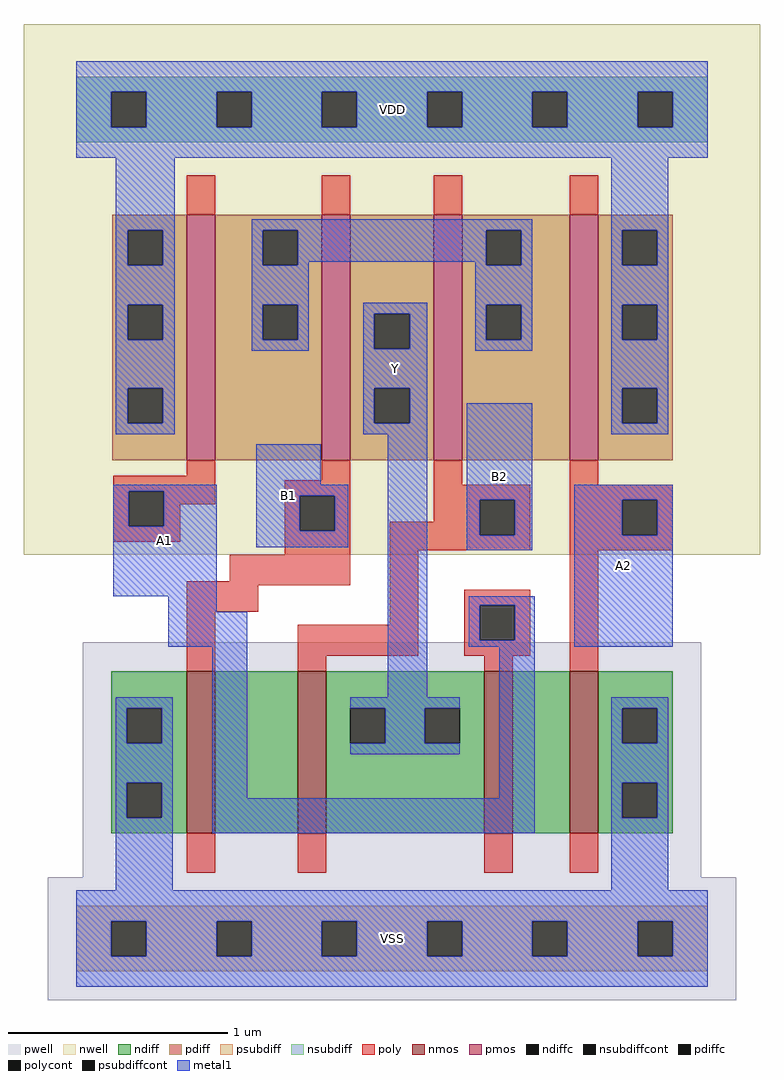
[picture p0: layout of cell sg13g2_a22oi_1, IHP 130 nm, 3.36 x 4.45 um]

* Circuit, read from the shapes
.subckt sg13g2_a22oi_1 Y A2 VDD B1 A1 VSS B2
XM1 n1 B1 VSS VSS sg13_lv_nmos w=0.74u l=0.13u
XM2 Y B2 n1 VSS sg13_lv_nmos w=0.74u l=0.13u
XM3 n2 A1 Y VSS sg13_lv_nmos w=0.74u l=0.13u
XM4 VSS A2 n2 VSS sg13_lv_nmos w=0.74u l=0.13u
XM5 n3 A1 VDD VDD sg13_lv_pmos w=1.12u l=0.13u
XM6 Y B1 n3 VDD sg13_lv_pmos w=1.12u l=0.13u
XM7 n3 B2 Y VDD sg13_lv_pmos w=1.12u l=0.13u
XM8 VDD A2 n3 VDD sg13_lv_pmos w=1.12u l=0.13u
.ends

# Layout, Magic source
magic
tech ihp-sg13g2
magscale 1 2
<< nwell >>
rect -48 350 624 834
<< pwell >>
rect 6 56 570 270
rect -26 -56 602 56
<< nmos >>
rect 101 96 127 244
rect 202 96 228 244
rect 372 96 398 244
rect 450 96 476 244
<< pmos >>
rect 101 436 127 660
rect 224 436 250 660
rect 326 436 352 660
rect 450 436 476 660
<< ndiff >>
rect 32 210 101 244
rect 32 178 46 210
rect 78 178 101 210
rect 32 142 101 178
rect 32 110 46 142
rect 78 110 101 142
rect 32 96 101 110
rect 127 96 202 244
rect 228 210 372 244
rect 228 178 250 210
rect 282 178 318 210
rect 350 178 372 210
rect 228 96 372 178
rect 398 96 450 244
rect 476 210 544 244
rect 476 178 498 210
rect 530 178 544 210
rect 476 142 544 178
rect 476 110 498 142
rect 530 110 544 142
rect 476 96 544 110
<< pdiff >>
rect 33 646 101 660
rect 33 614 47 646
rect 79 614 101 646
rect 33 578 101 614
rect 33 546 47 578
rect 79 546 101 578
rect 33 502 101 546
rect 33 470 47 502
rect 79 470 101 502
rect 33 436 101 470
rect 127 646 224 660
rect 127 614 170 646
rect 202 614 224 646
rect 127 578 224 614
rect 127 546 170 578
rect 202 546 224 578
rect 127 436 224 546
rect 250 570 326 660
rect 250 538 272 570
rect 304 538 326 570
rect 250 502 326 538
rect 250 470 272 502
rect 304 470 326 502
rect 250 436 326 470
rect 352 646 450 660
rect 352 614 374 646
rect 406 614 450 646
rect 352 578 450 614
rect 352 546 374 578
rect 406 546 450 578
rect 352 436 450 546
rect 476 646 544 660
rect 476 614 498 646
rect 530 614 544 646
rect 476 578 544 614
rect 476 546 498 578
rect 530 546 544 578
rect 476 502 544 546
rect 476 470 498 502
rect 530 470 544 502
rect 476 436 544 470
<< ndiffc >>
rect 46 178 78 210
rect 46 110 78 142
rect 250 178 282 210
rect 318 178 350 210
rect 498 178 530 210
rect 498 110 530 142
<< pdiffc >>
rect 47 614 79 646
rect 47 546 79 578
rect 47 470 79 502
rect 170 614 202 646
rect 170 546 202 578
rect 272 538 304 570
rect 272 470 304 502
rect 374 614 406 646
rect 374 546 406 578
rect 498 614 530 646
rect 498 546 530 578
rect 498 470 530 502
<< psubdiff >>
rect 0 16 576 30
rect 0 -16 32 16
rect 64 -16 128 16
rect 160 -16 224 16
rect 256 -16 320 16
rect 352 -16 416 16
rect 448 -16 512 16
rect 544 -16 576 16
rect 0 -30 576 -16
<< nsubdiff >>
rect 0 772 576 786
rect 0 740 32 772
rect 64 740 128 772
rect 160 740 224 772
rect 256 740 320 772
rect 352 740 416 772
rect 448 740 512 772
rect 544 740 576 772
rect 0 726 576 740
<< psubdiffcont >>
rect 32 -16 64 16
rect 128 -16 160 16
rect 224 -16 256 16
rect 320 -16 352 16
rect 416 -16 448 16
rect 512 -16 544 16
<< nsubdiffcont >>
rect 32 740 64 772
rect 128 740 160 772
rect 224 740 256 772
rect 320 740 352 772
rect 416 740 448 772
rect 512 740 544 772
<< poly >>
rect 101 660 127 696
rect 224 660 250 696
rect 326 660 352 696
rect 450 660 476 696
rect 101 422 127 436
rect 34 408 127 422
rect 224 418 250 436
rect 34 376 48 408
rect 80 396 127 408
rect 190 404 250 418
rect 80 376 95 396
rect 34 362 95 376
rect 190 372 204 404
rect 236 372 250 404
rect 326 414 352 436
rect 450 414 476 436
rect 326 400 414 414
rect 326 380 368 400
rect 190 350 250 372
rect 140 326 250 350
rect 101 322 250 326
rect 286 368 368 380
rect 400 368 414 400
rect 286 354 414 368
rect 450 400 544 414
rect 450 368 498 400
rect 530 368 544 400
rect 450 354 544 368
rect 101 298 166 322
rect 101 244 127 298
rect 286 286 312 354
rect 202 258 312 286
rect 354 304 414 318
rect 354 272 368 304
rect 400 272 414 304
rect 354 258 414 272
rect 202 244 228 258
rect 372 244 398 258
rect 450 244 476 354
rect 101 60 127 96
rect 202 60 228 96
rect 372 60 398 96
rect 450 60 476 96
<< polycont >>
rect 48 376 80 408
rect 204 372 236 404
rect 368 368 400 400
rect 498 368 530 400
rect 368 272 400 304
<< metal1 >>
rect 0 772 576 800
rect 0 740 32 772
rect 64 740 128 772
rect 160 740 224 772
rect 256 740 320 772
rect 352 740 416 772
rect 448 740 512 772
rect 544 740 576 772
rect 0 712 576 740
rect 36 646 90 712
rect 36 614 47 646
rect 79 614 90 646
rect 36 578 90 614
rect 36 546 47 578
rect 79 546 90 578
rect 36 502 90 546
rect 160 646 416 656
rect 160 614 170 646
rect 202 617 374 646
rect 202 614 212 617
rect 160 578 212 614
rect 364 614 374 617
rect 406 614 416 646
rect 160 546 170 578
rect 202 546 212 578
rect 160 536 212 546
rect 262 570 320 580
rect 262 538 272 570
rect 304 538 320 570
rect 36 470 47 502
rect 79 470 90 502
rect 36 460 90 470
rect 262 502 320 538
rect 364 578 416 614
rect 364 546 374 578
rect 406 546 416 578
rect 364 536 416 546
rect 488 646 540 712
rect 488 614 498 646
rect 530 614 540 646
rect 488 578 540 614
rect 488 546 498 578
rect 530 546 540 578
rect 262 470 272 502
rect 304 470 320 502
rect 488 502 540 546
rect 262 460 320 470
rect 164 414 223 451
rect 34 408 128 414
rect 34 376 48 408
rect 80 376 128 408
rect 34 312 128 376
rect 164 404 248 414
rect 164 372 204 404
rect 236 372 248 404
rect 164 357 248 372
rect 84 298 128 312
rect 84 266 156 298
rect 36 210 88 220
rect 36 178 46 210
rect 78 178 88 210
rect 36 142 88 178
rect 36 110 46 142
rect 78 110 88 142
rect 36 44 88 110
rect 124 128 156 266
rect 284 220 320 460
rect 356 400 416 488
rect 488 470 498 502
rect 530 470 540 502
rect 488 460 540 470
rect 356 368 368 400
rect 400 368 416 400
rect 356 354 416 368
rect 454 400 544 414
rect 454 368 498 400
rect 530 368 544 400
rect 358 304 418 312
rect 358 272 368 304
rect 400 272 418 304
rect 358 266 418 272
rect 454 266 544 368
rect 250 210 350 220
rect 282 178 318 210
rect 250 168 350 178
rect 386 128 418 266
rect 124 96 418 128
rect 488 210 540 220
rect 488 178 498 210
rect 530 178 540 210
rect 488 142 540 178
rect 488 110 498 142
rect 530 110 540 142
rect 488 44 540 110
rect 0 16 576 44
rect 0 -16 32 16
rect 64 -16 128 16
rect 160 -16 224 16
rect 256 -16 320 16
rect 352 -16 416 16
rect 448 -16 512 16
rect 544 -16 576 16
rect 0 -44 576 -16
<< labels >>
flabel metal1 s 262 460 320 580 0 FreeSans 400 0 0 0 Y
port 2 nsew
flabel metal1 s 454 266 544 414 0 FreeSans 400 0 0 0 A2
port 3 nsew
flabel metal1 s 0 712 576 800 0 FreeSans 400 0 0 0 VDD
port 4 nsew
flabel metal1 s 164 357 223 451 0 FreeSans 400 0 0 0 B1
port 5 nsew
flabel metal1 s 34 312 128 414 0 FreeSans 400 0 0 0 A1
port 6 nsew
flabel metal1 s 0 -44 576 44 0 FreeSans 400 0 0 0 VSS
port 7 nsew
flabel metal1 s 356 354 416 488 0 FreeSans 400 0 0 0 B2
port 8 nsew
<< properties >>
string FIXED_BBOX 0 0 576 756
string GDS_END 212220
string GDS_FILE 6_final.gds
string GDS_START 207146
<< end >>
